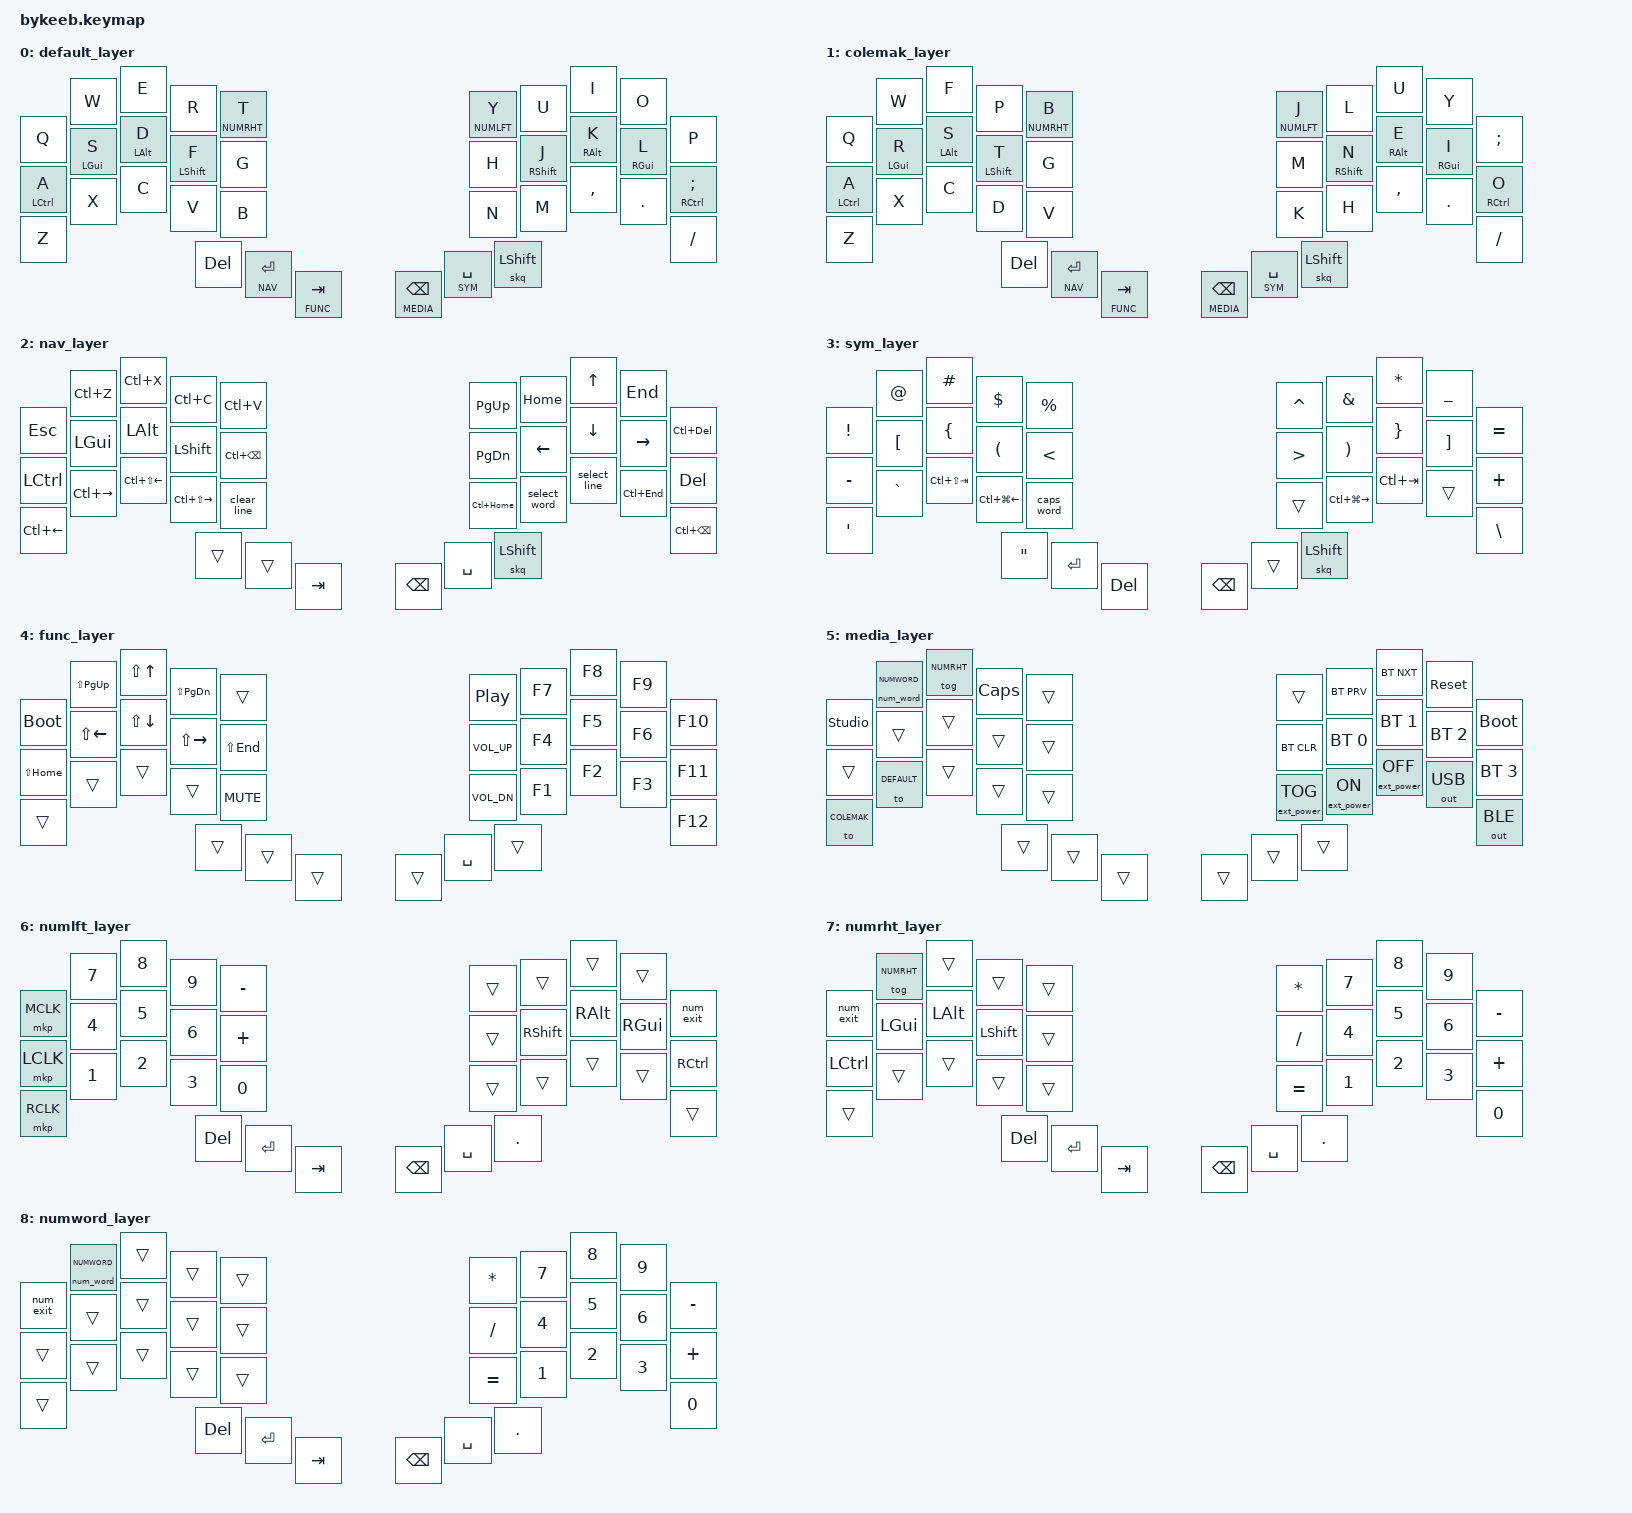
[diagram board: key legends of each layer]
/*
* Copyright (c) 2020 The ZMK Contributors
*
* SPDX-License-Identifier: MIT
*/

#include <behaviors.dtsi>
#include <dt-bindings/zmk/keys.h>
#include <dt-bindings/zmk/bt.h>
#include <dt-bindings/zmk/ext_power.h>
#include <dt-bindings/zmk/outputs.h>
#include <dt-bindings/zmk/mouse.h>
#include <behaviors/num_word.dtsi>

#define DEFAULT 0
#define COLEMAK 1
#define NAV     2
#define SYM     3
#define FUNC    4
#define MEDIA   5
#define NUMLFT  6
#define NUMRHT  7
#define NUMWORD 8

&caps_word {
    continue-list = <UNDERSCORE MINUS>;
};

&num_word {
    display-name = "Numword";
};

/ {
    combos {
        compatible = "zmk,combos";
        combo_undo {
            timeout-ms = <50>;
            require-prior-idle-ms = <150>;
            layers = <DEFAULT COLEMAK>;
            key-positions = <20 21>;
            bindings = <&kp LC(Z)>;
        };
    };
};

/ {
    behaviors {
        spc: space_symbols {
            compatible = "zmk,behavior-hold-tap";
            #binding-cells = <2>;
            display-name = "Space / Symbols";
            flavor = "tap-preferred";
            tapping-term-ms = <200>;
            // Preserve a long isolated Space press; use another key for Symbols.
            retro-tap;
            bindings = <&mo>, <&kp>;
        };
        bsp: backspace_media {
            compatible = "zmk,behavior-hold-tap";
            #binding-cells = <2>;
            display-name = "Backspace / Media";
            flavor = "tap-preferred";
            tapping-term-ms = <200>;
            // ZMK measures from first press to second press, including the first tap.
            quick-tap-ms = <400>;
            bindings = <&mo>, <&kp>;
        };
        skq: sticky_shift {
            compatible = "zmk,behavior-sticky-key";
            #binding-cells = <1>;
            display-name = "Sticky Shift";
            bindings = <&kp>;
            release-after-ms = <1500>;
            quick-release;
            ignore-modifiers;
        };
        num_off: number_layer_off {
            compatible = "zmk,behavior-toggle-layer";
            #binding-cells = <1>;
            display-name = "Number Layer Off";
            toggle-mode = "off";
            locking;
        };
        nml: number_hold_left {
            compatible = "zmk,behavior-hold-tap";
            #binding-cells = <2>;
            display-name = "Left Letter / Right Numpad";
            flavor = "balanced";
            tapping-term-ms = <280>;
            quick-tap-ms = <175>;
            require-prior-idle-ms = <150>;
            bindings = <&mo>, <&kp>;
            hold-trigger-key-positions = <5 6 7 8 9 15 16 17 18 19 25 26 27 28 29 30 31 32 33 34 35>;
            hold-trigger-on-release;
        };
        nmr: number_hold_right {
            compatible = "zmk,behavior-hold-tap";
            #binding-cells = <2>;
            display-name = "Right Letter / Left Numpad";
            flavor = "balanced";
            tapping-term-ms = <280>;
            quick-tap-ms = <175>;
            require-prior-idle-ms = <150>;
            bindings = <&mo>, <&kp>;
            hold-trigger-key-positions = <0 1 2 3 4 10 11 12 13 14 20 21 22 23 24 30 31 32 33 34 35>;
            hold-trigger-on-release;
        };
        // Opposite-hand chords and thumbs can resolve early as modifiers.
        // Same-hand shortcuts remain available after the tapping term.
        hml: homerow_mod_left {
            compatible = "zmk,behavior-hold-tap";
            #binding-cells = <2>;
            display-name = "Home Row Left";
            flavor = "balanced";
            tapping-term-ms = <280>;
            quick-tap-ms = <175>;
            require-prior-idle-ms = <150>;
            bindings = <&kp>, <&kp>;
            hold-trigger-key-positions = <5 6 7 8 9 15 16 17 18 19 25 26 27 28 29 30 31 32 33 34 35>;
            hold-trigger-on-release;
        };
        hmr: homerow_mod_right {
            compatible = "zmk,behavior-hold-tap";
            #binding-cells = <2>;
            display-name = "Home Row Right";
            flavor = "balanced";
            tapping-term-ms = <280>;
            quick-tap-ms = <175>;
            require-prior-idle-ms = <150>;
            bindings = <&kp>, <&kp>;
            hold-trigger-key-positions = <0 1 2 3 4 10 11 12 13 14 20 21 22 23 24 30 31 32 33 34 35>;
            hold-trigger-on-release;
        };
    };

    macros {
        // Pace host shortcuts for BLE HID delivery (upstream recommends >=30 ms).
        select_word: select_word {
            compatible = "zmk,behavior-macro";
            #binding-cells = <0>;
            display-name = "Select Word";
            wait-ms = <40>;
            tap-ms = <40>;
            bindings = <&kp LC(RIGHT)>, <&kp LC(LEFT)>, <&kp LC(LS(RIGHT))>;
        };
        select_line: select_line {
            compatible = "zmk,behavior-macro";
            #binding-cells = <0>;
            display-name = "Select Line";
            wait-ms = <40>;
            tap-ms = <40>;
            bindings = <&kp HOME>, <&kp LS(END)>;
        };
        clear_line: clear_terminal_line {
            compatible = "zmk,behavior-macro";
            #binding-cells = <0>;
            display-name = "Clear Terminal Line";
            wait-ms = <40>;
            tap-ms = <40>;
            bindings = <&kp LC(E)>, <&kp LC(U)>;
        };
        num_exit: exit_numbers {
            compatible = "zmk,behavior-macro";
            #binding-cells = <0>;
            display-name = "Escape / Exit Numbers";
            wait-ms = <0>;
            tap-ms = <40>;
            // Internal layer-off actions have no release work: apply them immediately.
            // The following Escape clears auto-layer bookkeeping and reaches the host.
            // Neither operation changes the selected base.
            bindings = <&macro_press>, <&num_off NUMLFT>, <&num_off NUMRHT>,
                       <&num_off NUMWORD>, <&macro_tap>, <&kp ESC>;
        };
    };

    keymap {
        compatible = "zmk,keymap";

        default_layer {
            bindings = <
    &kp Q        &kp W        &kp E       &kp R         &nml NUMRHT T                               &nmr NUMLFT Y &kp U        &kp I         &kp O       &kp P
    &hml LCTL A   &hml LGUI S   &hml LALT D  &hml LSHIFT F  &kp G                                       &kp H         &hmr RSHIFT J &hmr RALT K    &hmr RGUI L  &hmr RCTL SEMI
    &kp Z        &kp X        &kp C       &kp V         &kp B                                       &kp N         &kp M        &kp COMMA     &kp DOT     &kp FSLH
                                          &kp DEL       &lt NAV RET  &lt FUNC TAB  &bsp MEDIA BSPC  &spc SYM SPACE &skq LSHIFT
            >;
        };

        // Colemak-DH for matrix/columnar keyboards. Keep all holds at the same
        // physical positions as QWERTY, including the number-layer access keys.
        // Both bases must precede the shared layers so those can override them.
        colemak_layer {
            bindings = <
    &kp Q        &kp W        &kp F       &kp P         &nml NUMRHT B                               &nmr NUMLFT J &kp L        &kp U         &kp Y       &kp SEMI
    &hml LCTL A  &hml LGUI R  &hml LALT S &hml LSHIFT T &kp G                                       &kp M         &hmr RSHIFT N &hmr RALT E   &hmr RGUI I &hmr RCTL O
    &kp Z        &kp X        &kp C       &kp D         &kp V                                       &kp K         &kp H        &kp COMMA     &kp DOT     &kp FSLH
                                          &kp DEL       &lt NAV RET  &lt FUNC TAB  &bsp MEDIA BSPC  &spc SYM SPACE &skq LSHIFT
            >;
        };

        nav_layer {
            bindings = <
    &kp ESC      &kp LC(Z)    &kp LC(X)   &kp LC(C)     &kp LC(V)                                   &kp PG_UP    &kp HOME     &kp UP       &kp END       &kp LC(DEL)
    &kp LCTL     &kp LGUI     &kp LALT    &kp LSHIFT    &kp LC(BSPC)                                &kp PG_DN    &kp LEFT     &kp DOWN     &kp RIGHT     &kp DEL
    &kp LC(LEFT) &kp LC(RIGHT) &kp LC(LS(LEFT)) &kp LC(LS(RIGHT)) &clear_line                       &kp LC(HOME) &select_word &select_line &kp LC(END)   &kp LC(BSPC)
                                          &trans        &trans       &kp TAB       &kp BSPC         &kp SPACE     &skq LSHIFT
            >;
        };

        sym_layer {
            bindings = <
    &kp EXCL     &kp AT       &kp HASH        &kp DLLR         &kp PRCNT                                   &kp CARET     &kp AMPS          &kp ASTRK     &kp UNDER   &kp EQUAL
    &kp MINUS    &kp LBKT     &kp LBRC        &kp LPAR         &kp LT                                      &kp GT        &kp RPAR          &kp RBRC      &kp RBKT    &kp PLUS
    &kp SQT      &kp GRAVE    &kp LC(LS(TAB)) &kp LC(LG(LEFT)) &caps_word                                  &trans        &kp LC(LG(RIGHT)) &kp LC(TAB)   &trans      &kp BSLH
                                              &kp DQT          &kp RET       &kp DEL        &kp BSPC       &trans        &skq LSHIFT
            >;
        };

        func_layer {
            bindings = <
    &bootloader  &kp LS(PG_UP) &kp LS(UP)   &kp LS(PG_DN) &trans                                      &kp C_PLAY_PAUSE &kp F7       &kp F8        &kp F9      &kp F10
    &kp LS(HOME) &kp LS(LEFT)  &kp LS(DOWN) &kp LS(RIGHT) &kp LS(END)                                 &kp K_VOL_UP     &kp F4       &kp F5        &kp F6      &kp F11
    &trans       &trans        &trans       &trans        &kp C_MUTE                                  &kp K_VOL_DN     &kp F1       &kp F2        &kp F3      &kp F12
                                            &trans        &trans        &trans       &trans           &kp SPACE        &trans
            >;
        };

        media_layer {
            bindings = <
    &studio_unlock       &num_word NUMWORD &tog NUMRHT &kp CAPS     &trans                                     &trans             &bt BT_PRV        &bt BT_NXT         &sys_reset     &bootloader
    &trans       &trans        &trans       &trans        &trans                                     &bt BT_CLR         &bt BT_SEL 0      &bt BT_SEL 1       &bt BT_SEL 2   &bt BT_SEL 3
    &to COLEMAK  &to DEFAULT   &trans       &trans        &trans                                     &ext_power EP_TOG  &ext_power EP_ON  &ext_power EP_OFF  &out OUT_USB   &out OUT_BLE
                                            &trans        &trans        &trans        &trans         &trans             &trans
            >;
        };

        numlft_layer {
            bindings = <
    &mkp MCLK    &kp N7       &kp N8       &kp N9        &kp MINUS                                   &trans      &trans      &trans      &trans      &num_exit
    &mkp LCLK    &kp N4       &kp N5       &kp N6        &kp PLUS                                    &trans      &kp RSHIFT  &kp RALT    &kp RGUI    &kp RCTL
    &mkp RCLK    &kp N1       &kp N2       &kp N3        &kp N0                                      &trans      &trans      &trans      &trans      &trans
                                           &kp DEL       &kp RET       &kp TAB        &kp BSPC       &kp SPACE   &kp DOT
            >;
        };

        numrht_layer {
           bindings = <
               &num_exit    &tog NUMRHT  &trans       &trans        &trans                                      &kp ASTRK   &kp N7       &kp N8        &kp N9      &kp MINUS
               &kp LCTL     &kp LGUI     &kp LALT     &kp LSHIFT    &trans                                      &kp FSLH    &kp N4       &kp N5        &kp N6      &kp PLUS
               &trans       &trans       &trans       &trans        &trans                                      &kp EQUAL   &kp N1       &kp N2        &kp N3      &kp N0
                                                   &kp DEL       &kp RET       &kp TAB        &kp BSPC       &kp SPACE   &kp DOT
           >;
       };

        // Separate from NUMRHT so manual locking never inherits auto-exit state.
        numword_layer {
            bindings = <
    &num_exit    &num_word NUMWORD &trans  &trans        &trans                                      &kp ASTRK   &kp N7       &kp N8        &kp N9      &kp MINUS
    &trans       &trans       &trans      &trans        &trans                                      &kp FSLH    &kp N4       &kp N5        &kp N6      &kp PLUS
    &trans       &trans       &trans      &trans        &trans                                      &kp EQUAL   &kp N1       &kp N2        &kp N3      &kp N0
                                           &kp DEL       &kp RET       &kp TAB        &kp BSPC       &kp SPACE   &kp DOT
            >;
        };
    };
};

